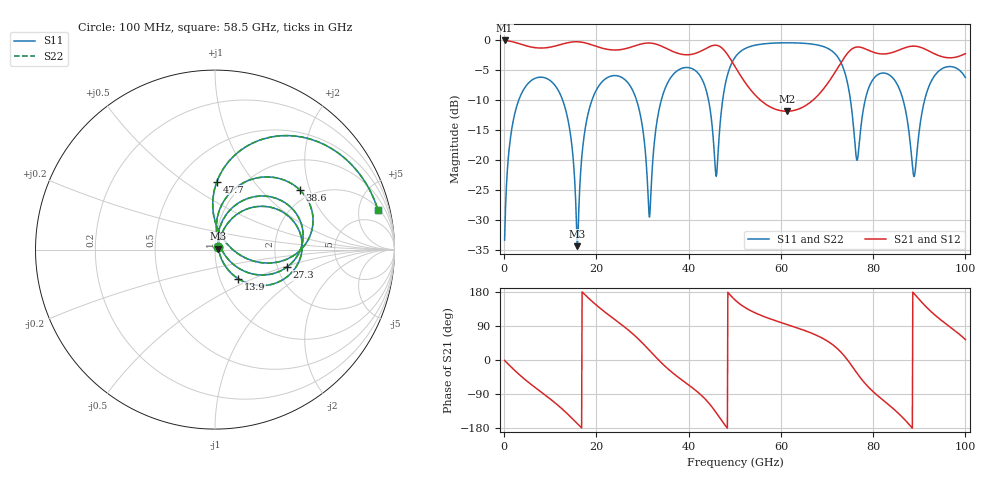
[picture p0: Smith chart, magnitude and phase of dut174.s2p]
! Touchstone file exported from HFSS 2026.1.0
!  File:  C:/ffzhzh/LocalFiles/Ansys_Project_Files/temp_train_TSV_RDL_174_1783651685_29156.aedt
!  Generated:  11:00:51 AM Jul 10, 2026
!  Design:  TSV_RDL
!  Project:  temp_train_TSV_RDL_174_1783651685_29156
! Variables:
!  h_bsmrdl = 3.44um
!  h_ox = 20um
!  h_rdl = 5um
!  h_sub = 75.15um
!  h_tmrdl = 3.28um
!  h_tsv = 75.15um
!  h_via = 3um
!  l_bsmrdl = 283.69um
!  l_sub = 3428.14um
!  l_tmrdl = 510.96um
!  m_sub = 200um
!  pitch = 47.47um
!  r_tsv = 11.43um
!  s_tmrdl = 10um
!  w_bsmrdl = 28.14um
!  w_sub = 500um
!  w_tmrdl = 16.27um
!  x_tsv_center1 = 519.095um
!  x_tsv_center2 = 830.925um
!  x_tsv_center3 = 1358.155um
!  x_tsv_center4 = 1669.985um
!  x_tsv_center5 = 2197.215um
!  x_tsv_center6 = 2509.045um
# GHz S MA R 50.000000
! Terminal data exported
! Port[1] = TM_RDL1_1_T1
! Port[2] = TM_RDL5_1_T1
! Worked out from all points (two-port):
!   1000 points, 100 MHz to 100 GHz, reference 50 ohm
!   highest |S21| = -0.16 dB at 100 MHz (marker M1); lowest = -11.9 dB at 61.3 GHz (marker M2)
!   |S21| within 3 dB of the highest: start of sweep to 48.99 GHz; 73.6 GHz to end of sweep
!   lowest |S11| = -34.3 dB at 15.9 GHz (marker M3), VSWR 1.04, Z = 51.9 + j0.522 ohm
!   |S11| at or under -10 dB: 12.65 GHz to 19.07 GHz (6.426 GHz wide, 40.5 % of centre); 28.67 GHz to 34.1 GHz (5.424 GHz wide, 17.3 % of centre); 86.48 GHz to 91.18 GHz (4.703 GHz wide, 5.29 % of centre) (the widest 3 of 6)
!   |S22| runs from -34.0 to -0.5 dB; largest |S21 - S12| = 1.2e-12
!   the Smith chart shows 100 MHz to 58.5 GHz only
!   S11 on the Smith chart (normalised r, x): 100 MHz: 1.04, +0.02; 13.9 GHz: 1.22, -0.42; 27.3 GHz: 2.26, -0.53; 38.6 GHz: 1.71, +1.71; 47.7 GHz: 0.76, +0.68; 58.5 GHz: 2.19, +7.66
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0.1  0.02152 33.4  0.9822 -1.3  0.9822 -1.3  0.02152 33.4
! Gamma 0 0 0 0
! Port Impedance 50 0 50 0
4.4  0.3939 36.5  0.8956 -50.3  0.8956 -50.3  0.3939 36.5
13.9  0.2094 -51.4  0.9422 -144.2  0.9422 -144.2  0.2094 -51.2
15.9  0.01918 15.2  0.9577 -168.2  0.9577 -168.2  0.01998 15.2
16.8  0.1022 78.5  0.9504 -179.2  0.9504 -179.2  0.1024 78.1
20.4  0.4048 47.5  0.8667 140.6  0.8667 140.6  0.4049 47.4
27.3  0.4131 -13.5  0.8599 75.2  0.8599 75.2  0.4131 -13.6
31.5  0.0335 23.2  0.9354 25.4  0.9354 25.4  0.03361 23.2
33.4  0.2401 82.3  0.9035 1.1  0.9035 1.1  0.2401 82.3
38.6  0.5776 35.3  0.7527 -53.3  0.7527 -53.3  0.5775 35.2
43.4  0.4227 -5.9  0.829 -100.7  0.829 -100.7  0.4225 -6.0
45.9  0.0747 26.1  0.8965 -137.7  0.8965 -137.7  0.07384 26.1
47.7  0.3788 88.4  0.8142 -168.7  0.8142 -168.7  0.3789 88.5
50.1  0.7148 62.0  0.5917 158.0  0.5917 158.0  0.715 62.0
58.5  0.9342 13.8  0.2662 105.1  0.2662 105.1  0.9343 13.8
61.3  0.9396 3.4  0.2534 93.8  0.2534 93.8  0.9397 3.4
66.7  0.9169 -17.7  0.3077 70.6  0.3077 70.6  0.917 -17.7
75.5  0.2336 -80.5  0.8392 -17.6  0.8392 -17.6  0.2334 -80.5
83.4  0.5108 -27.0  0.7671 -118.4  0.7671 -118.4  0.511 -26.9
89.3  0.09501 28.8  0.879 169.3  0.879 169.3  0.09633 28.1
92.9  0.4724 27.7  0.7744 123.9  0.7744 123.9  0.4727 27.5
100  0.4823 -30.2  0.7637 54.0  0.7637 54.0  0.4825 -30.2
